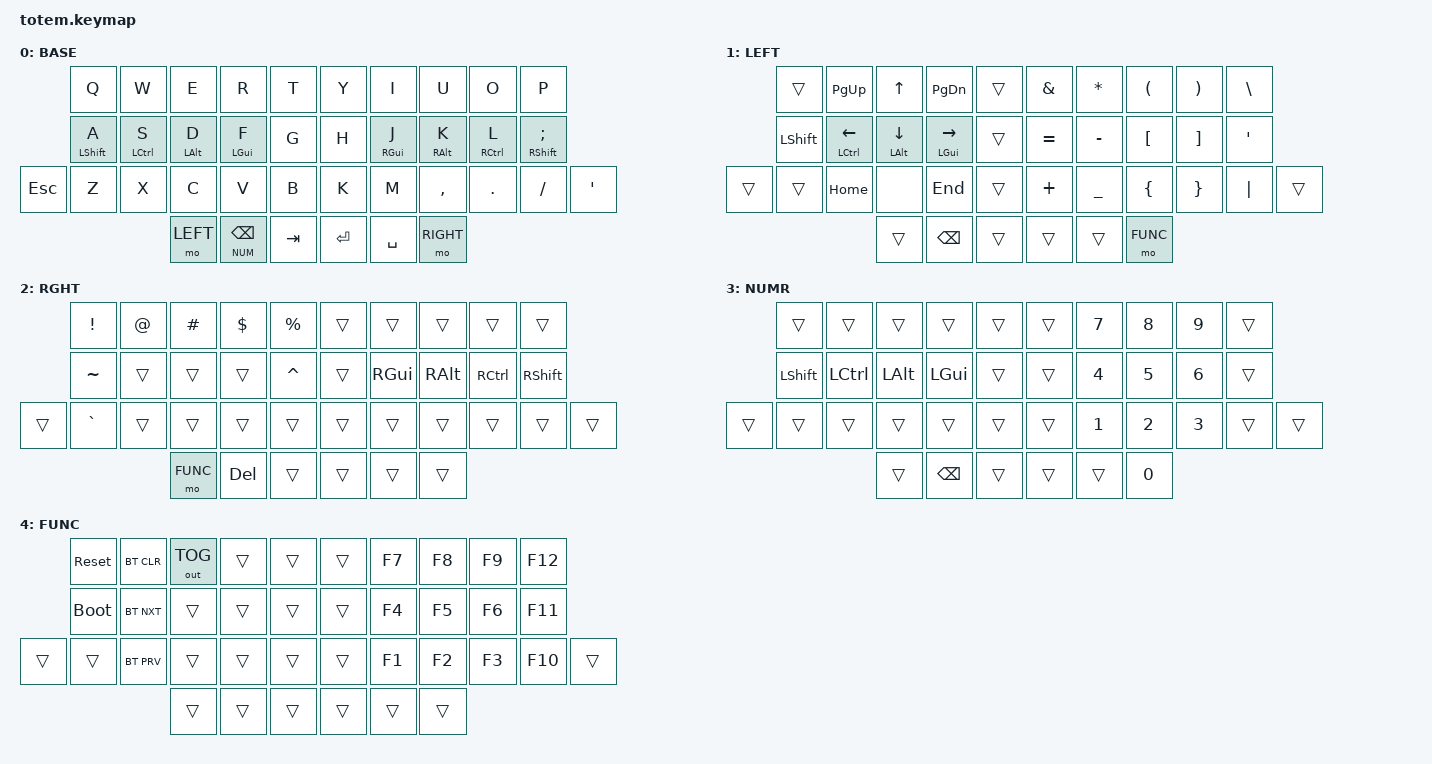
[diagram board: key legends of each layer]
//
//                                                        ▀▀▀▀▀     ▀▀▀▀▀          ▀▀█▀▀
//                                                        ▄▀▀▀▄  ▄  ▄▀▀▀▄  ▄  ▄▀▀▀▄  █  ▄▀▀▀▄
//                                                        █   █  █  █   █  █  █   █  █  █   █
//                                                         ▀▀▀   █   ▀▀▀   █   ▀▀▀   ▀   ▀▀▀
//                                                               █      ▄▄▄█▄▄▄    █   █  
//                                                               ▀      █  █  █     █▄█
//                                                             ▀▀▀▀▀    █  █  █      ▀
//                                                                      ▀  ▀  ▀
//
// ▄▄▄▄▄▄▄▄▄▄▄▄▄▄▄▄▄▄▄▄▄▄▄▄▄▄▄▄▄▄▄▄▄▄▄▄▄▄▄▄▄▄▄▄▄▄▄▄▄▄▄▄▄▄▄▄▄▄▄▄▄▄▄▄▄▄▄▄▄▄▄▄▄▄▄▄▄▄▄▄▄▄▄▄▄▄▄▄▄▄▄▄▄▄▄▄▄▄▄▄▄▄▄▄▄▄▄▄▄▄▄▄▄▄▄▄▄▄▄▄▄▄▄▄▄▄▄▄▄▄▄▄▄▄▄▄▄▄▄▄▄▄▄▄▄▄▄▄▄
       

#include <behaviors.dtsi>
#include <dt-bindings/zmk/keys.h>
#include <dt-bindings/zmk/bt.h>
#include <dt-bindings/zmk/outputs.h>

#define BASE 0
#define LEFT 1
#define RIGHT 2
#define NUM 3
#define FUNC 4

&mt {
  quick-tap-ms = <100>;
  global-quick-tap;
  flavor = "tap-preferred";
  tapping-term-ms = <170>;
};

/ {
    behaviors {
        hml: home_row_mod_left {
            compatible = "zmk,behavior-hold-tap";
            #binding-cells = <2>;
            flavor = "balanced";
            require-prior-idle-ms = <150>;
            tapping-term-ms = <280>;
            quick-tap-ms = <175>;
            bindings = <&kp>, <&kp>;
            hold-trigger-key-positions = <5 6 7 8 9 15 16 17 18 19 26 27 28 29 30 31 35 36 37>;
            hold-trigger-on-release;
        };

        hmr: home_row_mod_right {
            compatible = "zmk,behavior-hold-tap";
            #binding-cells = <2>;
            flavor = "balanced";
            require-prior-idle-ms = <150>;
            tapping-term-ms = <280>;
            quick-tap-ms = <175>;
            bindings = <&kp>, <&kp>;
            hold-trigger-key-positions = <0 1 2 3 4 10 11 12 13 14 20 21 22 23 24 25 32 33 34>;
            hold-trigger-on-release;
        };
    };

     combos {
            compatible = "zmk,combos";

            combo_esc {
                timeout-ms = <30>;
                key-positions = <16 17>;
                bindings = <&kp ESC>;
            };

            combo_copy {
                timeout-ms = <30>;
                key-positions = <22 23>;
                bindings = <&kp LG(C)>;
            };
            
            combo_paste {
                timeout-ms = <30>;
                key-positions = <22 24>;
                bindings = <&kp LG(V)>;
            };
    };

    keymap {
        compatible = "zmk,keymap";

        base_layer {
label= "BASE";
bindings = <
            &kp Q       &kp W       &kp E       &kp R       &kp T           &kp Y       &kp I       &kp U       &kp O       &kp P
            &hml LSHFT A &hml LCTRL S &hml LALT D  &hml LGUI F  &kp G       &kp H       &hmr RGUI J  &hmr RALT K  &hmr RCTRL L &hmr RSHFT SEMI
&kp ESC     &kp Z       &kp X       &kp C       &kp V       &kp B           &kp K       &kp M       &kp COMMA   &kp DOT     &kp FSLH    &kp APOS
                                    &mo LEFT    &lt NUM BSPC &kp TAB        &kp RET     &kp SPACE   &mo RIGHT
            >;
        };

        left_layer {
label= "LEFT";
bindings = <
            &trans      &kp PG_UP   &kp UP      &kp PG_DN   &trans          &kp AMPS    &kp STAR    &kp LPAR    &kp RPAR    &kp BSLH
            &kp LSHFT &hml LCTRL LEFT &hml LALT DOWN &hml LGUI RIGHT &trans    &kp EQUAL   &kp MINUS   &kp LBKT    &kp RBKT    &kp APOS
&trans      &trans      &kp HOME    &none       &kp END     &trans          &kp PLUS    &kp UNDER   &kp LBRC    &kp RBRC    &kp PIPE &trans      
                                    &trans      &kp BSPC    &trans          &trans      &trans      &mo FUNC      
            >;
        };

        right_layer {
label= "RGHT";
bindings = <
            &kp EXCL    &kp AT      &kp HASH    &kp DLLR    &kp PRCNT       &trans      &trans      &trans      &trans      &trans
            &kp TILDE   &trans      &trans      &trans      &kp CARET       &trans      &kp RGUI    &kp RALT    &kp RCTRL   &kp RSHFT
&trans      &kp GRAVE   &trans      &trans      &trans      &trans          &trans      &trans      &trans      &trans      &trans &trans      
                                    &mo FUNC    &kp DEL     &trans          &trans      &trans      &trans      
            >;
        };

        num_layer {
label= "NUMR";
bindings = <
            &trans      &trans      &trans      &trans      &trans          &trans      &kp N7      &kp N8      &kp N9      &trans
            &kp LSHFT   &kp LCTRL   &kp LALT    &kp LGUI    &trans          &trans      &kp N4      &kp N5      &kp N6      &trans
&trans      &trans      &trans      &trans      &trans      &trans          &trans      &kp N1      &kp N2      &kp N3      &trans &trans
                                    &trans      &kp BSPC    &trans          &trans      &trans      &kp N0
            >;
        };


        func_layer {
label= "FUNC";
bindings = <
            &sys_reset  &bt BT_CLR &out OUT_TOG &trans      &trans          &trans      &kp F7      &kp F8      &kp F9      &kp F12
            &bootloader &bt BT_NXT  &trans      &trans      &trans          &trans      &kp F4      &kp F5      &kp F6      &kp F11  
&trans      &trans      &bt BT_PRV  &trans      &trans      &trans          &trans      &kp F1      &kp F2      &kp F3      &kp F10     &trans         
                                    &trans      &trans      &trans          &trans      &trans      &trans      
            >;
        };


    }; // keymap
};
